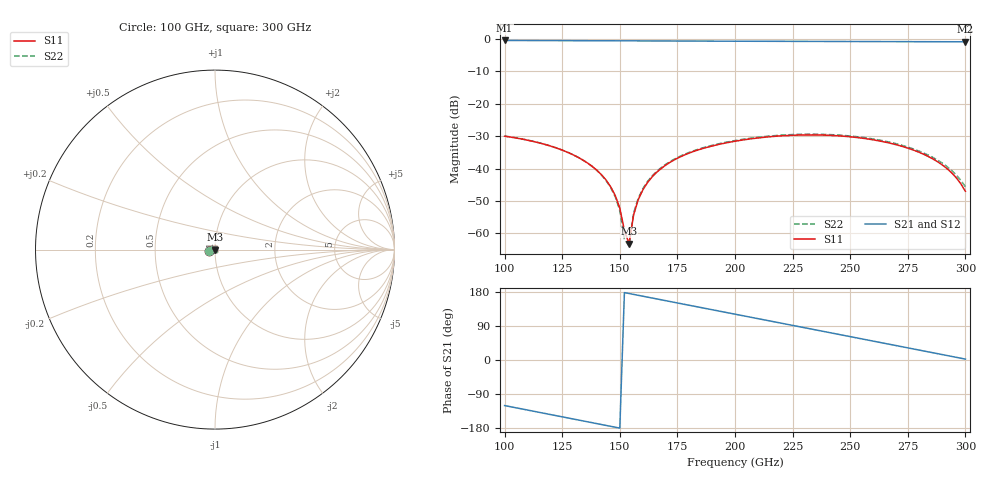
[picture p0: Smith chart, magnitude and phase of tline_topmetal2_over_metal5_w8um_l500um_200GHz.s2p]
#  GHZ S DB R 50
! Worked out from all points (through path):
!   101 points, 100 GHz to 300 GHz, reference 50 ohm
!   highest |S21| = -0.47 dB at 100 GHz (marker M1); lowest = -0.9 dB at 300 GHz (marker M2)
!   group delay of S21, straight-line fit = 3.3 ps
!   lowest |S11| = -63.2 dB at 154 GHz (marker M3), VSWR 1.00, Z = 50 - j0.0616 ohm
!   |S11| at or under -10 dB: start of sweep to end of sweep
!   |S22| runs from -64.0 to -29.4 dB; largest |S21 - S12| = 1.9e-14
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100  -30.03 -169.4  -0.47 -120.2  -0.47 -120.2  -29.98 -169.1
120  -33.09 162.1  -0.52 -144.1  -0.52 -144.1  -33.06 162.1
134  -37.40 143.2  -0.55 -160.7  -0.55 -160.7  -37.41 142.6
140  -40.51 135.7  -0.56 -167.9  -0.56 -167.9  -40.57 134.4
146  -45.59 130.0  -0.57 -175.0  -0.57 -175.0  -45.82 126.4
148  -48.30 129.3  -0.58 -177.4  -0.58 -177.4  -48.68 124.0
150  -52.22 131.1  -0.58 -179.8  -0.58 -179.8  -52.97 122.0
152  -59.12 144.4  -0.59 177.9  -0.59 177.9  -61.83 122.6
154  -63.21 -116.8  -0.59 175.5  -0.59 175.5  -63.97 -72.1
156  -54.29 -85.5  -0.60 173.1  -0.60 173.1  -53.72 -70.2
158  -49.62 -81.6  -0.60 170.7  -0.60 170.7  -49.17 -72.1
162  -44.36 -82.9  -0.61 166.0  -0.61 166.0  -44.03 -76.9
168  -39.96 -89.0  -0.63 158.8  -0.63 158.8  -39.71 -84.7
182  -34.74 -105.7  -0.67 142.2  -0.67 142.2  -34.54 -102.5
200  -31.58 -126.4  -0.71 120.9  -0.71 120.9  -31.38 -123.5
218  -30.03 -146.9  -0.74 99.6  -0.74 99.6  -29.81 -144.0
234  -29.63 -165.8  -0.77 80.7  -0.77 80.7  -29.41 -162.7
250  -30.21 175.1  -0.80 61.7  -0.80 61.7  -29.97 178.3
268  -32.31 153.8  -0.83 40.3  -0.83 40.3  -32.01 157.5
288  -37.95 132.5  -0.87 16.6  -0.87 16.6  -37.45 137.6
294  -41.31 128.4  -0.88 9.5  -0.88 9.5  -40.60 134.5
300  -47.04 130.7  -0.89 2.4  -0.89 2.4  -45.64 138.6
